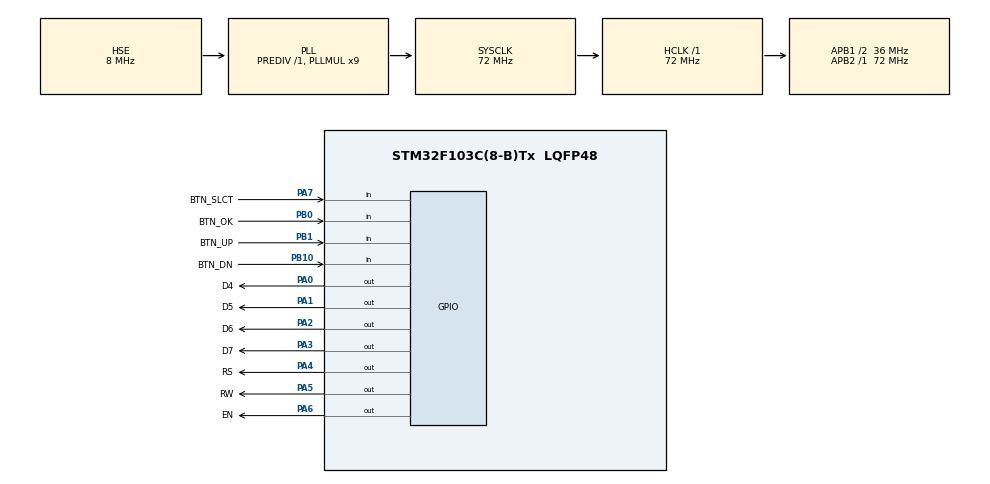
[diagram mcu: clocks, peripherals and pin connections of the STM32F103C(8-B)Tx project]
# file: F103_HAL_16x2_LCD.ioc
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Mcu.Family=STM32F1
Mcu.Name=STM32F103C(8-B)Tx
Mcu.Package=LQFP48
NVIC.PriorityGroup=NVIC_PRIORITYGROUP_4
PA0-WKUP.GPIO_Label=D4
PA0-WKUP.Signal=GPIO_Output
PA1.GPIO_Label=D5
PA1.Signal=GPIO_Output
PA13.Mode=Serial_Wire
PA13.Signal=SYS_JTMS-SWDIO
PA14.Mode=Serial_Wire
PA14.Signal=SYS_JTCK-SWCLK
PA2.GPIO_Label=D6
PA2.Signal=GPIO_Output
PA3.GPIO_Label=D7
PA3.Signal=GPIO_Output
PA4.GPIO_Label=RS
PA4.Signal=GPIO_Output
PA5.GPIO_Label=RW
PA5.Signal=GPIO_Output
PA6.GPIO_Label=EN
PA6.Signal=GPIO_Output
PA7.GPIO_Label=BTN_SLCT
PA7.Signal=GPIO_Input
PB0.GPIO_Label=BTN_OK
PB0.Signal=GPIO_Input
PB1.GPIO_Label=BTN_UP
PB1.Signal=GPIO_Input
PB10.GPIO_Label=BTN_DN
PB10.Signal=GPIO_Input
PC14-OSC32_IN.Mode=LSE-External-Oscillator
PC14-OSC32_IN.Signal=RCC_OSC32_IN
PC15-OSC32_OUT.Mode=LSE-External-Oscillator
PC15-OSC32_OUT.Signal=RCC_OSC32_OUT
PD0-OSC_IN.Mode=HSE-External-Oscillator
PD0-OSC_IN.Signal=RCC_OSC_IN
PD1-OSC_OUT.Mode=HSE-External-Oscillator
PD1-OSC_OUT.Signal=RCC_OSC_OUT
ProjectManager.HeapSize=0x200
ProjectManager.StackSize=0x400
ProjectManager.TargetToolchain=STM32CubeIDE
RCC.AHBFreq_Value=72000000
RCC.APB1CLKDivider=RCC_HCLK_DIV2
RCC.APB1Freq_Value=36000000
RCC.APB1TimFreq_Value=72000000
RCC.APB2Freq_Value=72000000
RCC.APB2TimFreq_Value=72000000
RCC.HCLKFreq_Value=72000000
RCC.PLLMUL=RCC_PLL_MUL9
RCC.PLLSourceVirtual=RCC_PLLSOURCE_HSE
RCC.SYSCLKFreq_VALUE=72000000
RCC.SYSCLKSource=RCC_SYSCLKSOURCE_PLLCLK
RCC.USBFreq_Value=72000000
board=custom

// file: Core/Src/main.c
/* USER CODE BEGIN Header */
/**
  ******************************************************************************
  * @file           : main.c
  * @brief          : Main program body
  ******************************************************************************
  * @attention
  *
  * <h2><center>&copy; Copyright (c) 2022 STMicroelectronics.
  * All rights reserved.</center></h2>
  *
  * This software component is licensed by ST under BSD 3-Clause license,
  * the "License"; You may not use this file except in compliance with the
  * License. You may obtain a copy of the License at:
  *                        opensource.org/licenses/BSD-3-Clause
  *
  ******************************************************************************
  */
/* USER CODE END Header */
#include "main.h"

/* USER CODE BEGIN Includes */
#include <stdio.h>
#include <stdlib.h>
#include <string.h>
#define BTN_DELAY HAL_Delay(100);
/* USER CODE END Includes */

void SystemClock_Config(void);
static void MX_GPIO_Init(void);

/* USER CODE BEGIN 0 */
void LCD_send(char data, uint8_t rs)
{
	HAL_GPIO_WritePin(RS_GPIO_Port, RS_Pin, rs);

	HAL_GPIO_WritePin(D7_GPIO_Port, D7_Pin, ((data >> 3) & 0x01));
	HAL_GPIO_WritePin(D6_GPIO_Port, D6_Pin, ((data >> 2) & 0x01));
	HAL_GPIO_WritePin(D5_GPIO_Port, D5_Pin, ((data >> 1) & 0x01));
	HAL_GPIO_WritePin(D4_GPIO_Port, D4_Pin, ((data >> 0) & 0x01));

	HAL_GPIO_WritePin(EN_GPIO_Port, EN_Pin, 1);
	HAL_Delay(1);
	HAL_GPIO_WritePin(EN_GPIO_Port, EN_Pin, 0);
	HAL_Delay(1);
}

void LCD_cmd(char cmd)
{
	char data;
	data = ((cmd >> 4) & 0x0F);
	LCD_send(data, 0);
	data = (cmd & 0x0F);
	LCD_send(data, 0);
}

void LCD_data(char cmd)
{
	char bits;
	bits = ((cmd >> 4) & 0x0F);
	LCD_send(bits, 1);
	bits = (cmd & 0x0F);
	LCD_send(bits, 1);
}

void LCD_string(char* str)
{
	int i = 0;
	while(str[i] != 0)
	{
		LCD_data(str[i]);
		i++;
	}
}

void LCD_string_pos(int row, int col, char* str)
{
	switch (row)
	{
		case 0:
			col |= 0x80;
			break;

		case 1:
			col |= 0xC0;
			break;
	}
	LCD_cmd(col);
	LCD_string(str);
}

void LCD_clear(void)
{
	LCD_cmd(0x01);
	LCD_cmd(0x80);
}

void LCD_fill(int row, int col, char data)
{
	int i;
	if(row == 0)
	{
		LCD_cmd(0x80);
		for(i = 0; i < (16 - col); i++)
		{
			LCD_data(data);
		}
	}
	else if (row == 1)
	{
		LCD_cmd(0xC0);
		for(i = 0; i < (16 - col); i++)
		{
			LCD_data(data);
		}
	}
}

void LCD_init(void)
{
	char command[6] = {0x02, 0x28, 0x0C, 0x06, 0x01, 0x80};
	for(int i = 0; i < 6; i++)
	{
		LCD_cmd(command[i]);
	}
}

void LCD_timer(void)
{
	LCD_clear();
	LCD_string_pos(0, 5, "Timer");
	LCD_string_pos(1, 4, "00:00:00");
	LCD_cmd(0x0F);
	LCD_string_pos(1, 10, "");
	uint8_t s = 0, m = 0, h = 0, run = 0;
	int cursor_pos = 0;
	char buffer[3] = {0,0,0};
	char hb[3] = {0}; char mb[3] = {0}; char sb[3] = {0};
	while(1)
	{
		if(HAL_GPIO_ReadPin(BTN_SLCT_GPIO_Port, BTN_SLCT_Pin))
		{
			cursor_pos += 3;
			if(cursor_pos > 6)
			{
				cursor_pos = 0;
			}
			BTN_DELAY
			LCD_string_pos(1, 10-cursor_pos, "");
		}
		if(HAL_GPIO_ReadPin(BTN_UP_GPIO_Port, BTN_UP_Pin))
		{
			buffer[0] = 0; buffer[1] = 0; buffer[2] = 0;
			switch(cursor_pos)
			{
				case 0:
					s++;
					sprintf(buffer, "%d", s);
					if(s < 10)
					{
						LCD_string_pos(1, 11, buffer);
						LCD_string_pos(1, 10, "0");
						LCD_string_pos(1, 10, "");
					}
					else
					{
						LCD_string_pos(1, 10, buffer);
						LCD_string_pos(1, 10, "");
					}
					break;
				case 3:
					m++;
					sprintf(buffer, "%d", m);
					if(m < 10)
					{
						LCD_string_pos(1, 8, buffer);
						LCD_string_pos(1, 7, "0");
						LCD_string_pos(1, 7, "");
					}
					else
					{
						LCD_string_pos(1, 7, buffer);
						LCD_string_pos(1, 7, "");
					}
					break;
				case 6:
					h++;
					sprintf(buffer, "%d", h);
					if(h < 10)
					{
						LCD_string_pos(1, 5, buffer);
						LCD_string_pos(1, 4, "0");
						LCD_string_pos(1, 4, "");
					}
					else
					{
						LCD_string_pos(1, 4, buffer);
						LCD_string_pos(1, 4, "");
					}
					break;
			}
			BTN_DELAY
		}
		if(HAL_GPIO_ReadPin(BTN_DN_GPIO_Port, BTN_DN_Pin))
		{
			buffer[0] = 0; buffer[1] = 0; buffer[2] = 0;
			switch(cursor_pos)
			{
				case 0:
					s--;
					sprintf(buffer, "%d", s);
					if(s < 10)
					{
						LCD_string_pos(1, 11, buffer);
						LCD_string_pos(1, 10, "0");
						LCD_string_pos(1, 10, "");
					}
					else
					{
						LCD_string_pos(1, 10, buffer);
						LCD_string_pos(1, 10, "");
					}
					break;
				case 3:
					m--;
					sprintf(buffer, "%d", m);
					if(m < 10)
					{
						LCD_string_pos(1, 8, buffer);
						LCD_string_pos(1, 7, "0");
						LCD_string_pos(1, 7, "");
					}
					else
					{
						LCD_string_pos(1, 7, buffer);
						LCD_string_pos(1, 7, "");
					}
					break;
				case 6:
					h--;
					sprintf(buffer, "%d", h);
					if(h < 10)
					{
						LCD_string_pos(1, 5, buffer);
						LCD_string_pos(1, 4, "0");
						LCD_string_pos(1, 4, "");
					}
					else
					{
						LCD_string_pos(1, 4, buffer);
						LCD_string_pos(1, 4, "");
					}
					break;
			}
			BTN_DELAY
		}
		if(HAL_GPIO_ReadPin(BTN_OK_GPIO_Port, BTN_OK_Pin))
		{
			run = 1;
			LCD_cmd(0x0C);
			BTN_DELAY
		}
		if(run == 1)
		{
			if (s != 0)
			{
				s--;
				HAL_Delay(1000-2);
			}
			if(s == 0)
			{
				if (m != 0)
				{
					m--;
					s = 59;
				}
				if(m == 0)
				{
					if (h != 0)
					{
						h--;
						m = 60;
					}
				}
			}
			sprintf(hb, "%d", h);
			sprintf(mb, "%d", m);
			sprintf(sb, "%d", s);
			if(s < 10)
			{
				LCD_string_pos(1, 11, sb);
				LCD_string_pos(1, 10, "0");
				LCD_string_pos(1, 10, "");
			}
			else
			{
				LCD_string_pos(1, 10, sb);
				LCD_string_pos(1, 10, "");
			}
			if(m < 10)
			{
				LCD_string_pos(1, 8, mb);
				LCD_string_pos(1, 7, "0");
				LCD_string_pos(1, 7, "");
			}
			else
			{
				LCD_string_pos(1, 7, mb);
				LCD_string_pos(1, 7, "");
			}
			if(h < 10)
			{
				LCD_string_pos(1, 5, hb);
				LCD_string_pos(1, 4, "0");
				LCD_string_pos(1, 4, "");
			}
			else
			{
				LCD_string_pos(1, 4, hb);
				LCD_string_pos(1, 4, "");
			}
		}
	}
}

void LCD_stopwatch(void)
{
	LCD_clear();
	LCD_string_pos(0, 3, "Stopwatch");
	LCD_string_pos(1, 4, "00:00:00");
	uint8_t h = 0, m = 0, s = 0, run = 0;
	char hb[3] = {0}; char mb[3] = {0}; char sb[3] = {0};
	while(1)
	{
		if(HAL_GPIO_ReadPin(BTN_OK_GPIO_Port, BTN_OK_Pin))
		{
			run = 1;
			LCD_cmd(0x0C);
			BTN_DELAY
		}
		while(run)
		{
			s++;
			HAL_Delay(1000-2);
			if(s > 59)
			{
				s = 0;
				m++;
				if(m > 59)
				{
					m = 0;
					h++;
				}
			}

			sprintf(sb, "%d", s);
			sprintf(mb, "%d", m);
			sprintf(hb, "%d", h);
			if(s < 10)
			{
				LCD_string_pos(1, 11, sb);
				LCD_string_pos(1, 10, "0");
				LCD_string_pos(1, 10, "");
			}
			else
			{
				LCD_string_pos(1, 10, sb);
				LCD_string_pos(1, 10, "");
			}
			if(m < 10)
			{
				LCD_string_pos(1, 8, mb);
				LCD_string_pos(1, 7, "0");
				LCD_string_pos(1, 7, "");
			}
			else
			{
				LCD_string_pos(1, 7, mb);
				LCD_string_pos(1, 7, "");
			}
			if(h < 10)
			{
				LCD_string_pos(1, 5, hb);
				LCD_string_pos(1, 4, "0");
				LCD_string_pos(1, 4, "");
			}
			else
			{
				LCD_string_pos(1, 4, hb);
				LCD_string_pos(1, 4, "");
			}
		}
	}
}

/* USER CODE END 0 */

int main(void)
{

  /* MCU Configuration--------------------------------------------------------*/

  /* Reset of all peripherals, Initializes the Flash interface and the Systick. */
  HAL_Init();

  /* Configure the system clock */
  SystemClock_Config();

  /* Initialize all configured peripherals */
  MX_GPIO_Init();
  /* USER CODE BEGIN 2 */

  char *funcs[4] = {"> ", "Timer", "Stopwatch", "  "};
  int selector_pos = 0;

  LCD_init();
  LCD_string_pos(selector_pos, 0, funcs[0]);
  LCD_string_pos(0, 2, funcs[1]);
  LCD_string_pos(1, 2, funcs[2]);

  /* USER CODE END 2 */

  /* Infinite loop */
  /* USER CODE BEGIN WHILE */
  while (1)
  {
	  if(HAL_GPIO_ReadPin(BTN_SLCT_GPIO_Port, BTN_SLCT_Pin))
	  {
		  if(selector_pos == 0)
		  {
			  LCD_string_pos(selector_pos, 0, funcs[3]);
			  selector_pos = 1;
			  LCD_string_pos(selector_pos, 0, funcs[0]);
		  }
		  else if(selector_pos == 1)
		  {
			  LCD_string_pos(selector_pos, 0, funcs[3]);
			  selector_pos = 0;
			  LCD_string_pos(selector_pos, 0, funcs[0]);
		  }
		  BTN_DELAY
	  }

	  if(HAL_GPIO_ReadPin(BTN_OK_GPIO_Port, BTN_OK_Pin))
	  {
		  if(selector_pos == 0)
		  {
			  LCD_timer();
		  }
		  else if(selector_pos == 1)
		  {
			  LCD_stopwatch();
		  }
		  BTN_DELAY
	  }
    /* USER CODE END WHILE */

  }
}

void SystemClock_Config(void)
{
  RCC_OscInitTypeDef RCC_OscInitStruct = {0};
  RCC_ClkInitTypeDef RCC_ClkInitStruct = {0};

  /** Initializes the RCC Oscillators according to the specified parameters
  * in the RCC_OscInitTypeDef structure.
  */
  RCC_OscInitStruct.OscillatorType = RCC_OSCILLATORTYPE_HSE;
  RCC_OscInitStruct.HSEState = RCC_HSE_ON;
  RCC_OscInitStruct.HSEPredivValue = RCC_HSE_PREDIV_DIV1;
  RCC_OscInitStruct.HSIState = RCC_HSI_ON;
  RCC_OscInitStruct.PLL.PLLState = RCC_PLL_ON;
  RCC_OscInitStruct.PLL.PLLSource = RCC_PLLSOURCE_HSE;
  RCC_OscInitStruct.PLL.PLLMUL = RCC_PLL_MUL9;
  if (HAL_RCC_OscConfig(&RCC_OscInitStruct) != HAL_OK)
  {
    Error_Handler();
  }
  /** Initializes the CPU, AHB and APB buses clocks
  */
  RCC_ClkInitStruct.ClockType = RCC_CLOCKTYPE_HCLK|RCC_CLOCKTYPE_SYSCLK
                              |RCC_CLOCKTYPE_PCLK1|RCC_CLOCKTYPE_PCLK2;
  RCC_ClkInitStruct.SYSCLKSource = RCC_SYSCLKSOURCE_PLLCLK;
  RCC_ClkInitStruct.AHBCLKDivider = RCC_SYSCLK_DIV1;
  RCC_ClkInitStruct.APB1CLKDivider = RCC_HCLK_DIV2;
  RCC_ClkInitStruct.APB2CLKDivider = RCC_HCLK_DIV1;

  if (HAL_RCC_ClockConfig(&RCC_ClkInitStruct, FLASH_LATENCY_2) != HAL_OK)
  {
    Error_Handler();
  }
}

static void MX_GPIO_Init(void)
{
  GPIO_InitTypeDef GPIO_InitStruct = {0};

  /* GPIO Ports Clock Enable */
  __HAL_RCC_GPIOC_CLK_ENABLE();
  __HAL_RCC_GPIOD_CLK_ENABLE();
  __HAL_RCC_GPIOA_CLK_ENABLE();
  __HAL_RCC_GPIOB_CLK_ENABLE();

  /*Configure GPIO pin Output Level */
  HAL_GPIO_WritePin(GPIOA, D4_Pin|D5_Pin|D6_Pin|D7_Pin
                          |RS_Pin|RW_Pin|EN_Pin, GPIO_PIN_RESET);

  /*Configure GPIO pins : D4_Pin D5_Pin D6_Pin D7_Pin
                           RS_Pin RW_Pin EN_Pin */
  GPIO_InitStruct.Pin = D4_Pin|D5_Pin|D6_Pin|D7_Pin
                          |RS_Pin|RW_Pin|EN_Pin;
  GPIO_InitStruct.Mode = GPIO_MODE_OUTPUT_PP;
  GPIO_InitStruct.Pull = GPIO_NOPULL;
  GPIO_InitStruct.Speed = GPIO_SPEED_FREQ_LOW;
  HAL_GPIO_Init(GPIOA, &GPIO_InitStruct);

  /*Configure GPIO pin : BTN_SLCT_Pin */
  GPIO_InitStruct.Pin = BTN_SLCT_Pin;
  GPIO_InitStruct.Mode = GPIO_MODE_INPUT;
  GPIO_InitStruct.Pull = GPIO_NOPULL;
  HAL_GPIO_Init(BTN_SLCT_GPIO_Port, &GPIO_InitStruct);

  /*Configure GPIO pins : BTN_OK_Pin BTN_UP_Pin BTN_DN_Pin */
  GPIO_InitStruct.Pin = BTN_OK_Pin|BTN_UP_Pin|BTN_DN_Pin;
  GPIO_InitStruct.Mode = GPIO_MODE_INPUT;
  GPIO_InitStruct.Pull = GPIO_NOPULL;
  HAL_GPIO_Init(GPIOB, &GPIO_InitStruct);

}

void Error_Handler(void)
{
  __disable_irq();
  while (1)
  {
  }
}

/************************ (C) COPYRIGHT STMicroelectronics *****END OF FILE****/
